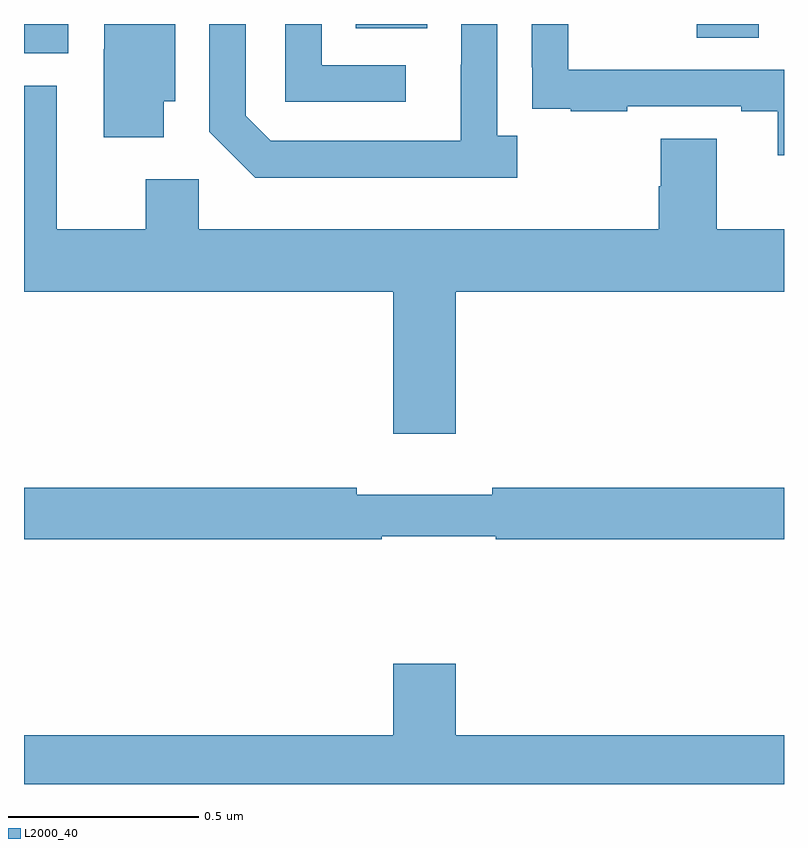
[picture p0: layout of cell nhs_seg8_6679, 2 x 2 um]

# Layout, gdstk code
import gdstk
lib = gdstk.Library(unit=1e-6, precision=1e-09)
def R(c, l, rs):  # rectangles x0, y0, x1, y1
    for r in rs: c.add(gdstk.rectangle(r[:2], r[2:], *l))
def P(c, l, *ps):  # polygons
    for p in ps: c.add(gdstk.Polygon(p, *l))
L2000_40 = (2000, 40)

nhs_seg8_6679 = lib.new_cell('nhs_seg8_6679')
R(nhs_seg8_6679, L2000_40, [(200,1087.823,200.116,1087.9), (201.77,1087.864,201.934,1087.9), (200.873,1087.889,201.061,1087.9), (201.521,1087.899,201.682,1087.9)])
P(nhs_seg8_6679, L2000_40, [(201.004,1087.791),(200.784,1087.791),(200.784,1087.9),(200.688,1087.9),(200.688,1087.695),(201.004,1087.695)],
  [(200.368,1087.697),(200.398,1087.697),(200.398,1087.9),(200.211,1087.9),(200.211,1087.833),(200.21,1087.833),(200.21,1087.602),(200.368,1087.602)],
  [(202,1087.779),(201.432,1087.779),(201.432,1087.9),(201.336,1087.9),(201.336,1087.786),(201.337,1087.786),(201.337,1087.677),(201.439,1087.677),(201.439,1087.671),(201.587,1087.671),(201.587,1087.683),(201.887,1087.683),(201.887,1087.671),(201.983,1087.671),(201.983,1087.554),(202,1087.554)],
  [(201.298,1087.606),(201.246,1087.606),(201.246,1087.9),(201.15,1087.9),(201.15,1087.793),(201.149,1087.793),(201.149,1087.593),(200.649,1087.593),(200.583,1087.659),(200.583,1087.9),(200.487,1087.9),(200.487,1087.617),(200.608,1087.496),(201.298,1087.496)],
  [(201.136,1087.196),(202,1087.196),(202,1087.36),(201.823,1087.36),(201.823,1087.598),(201.676,1087.598),(201.676,1087.473),(201.671,1087.473),(201.671,1087.36),(200.46,1087.36),(200.46,1087.492),(200.321,1087.492),(200.321,1087.36),(200.086,1087.36),(200.086,1087.738),(200,1087.738),(200,1087.196),(200.972,1087.196),(200.972,1086.822),(201.136,1086.822)],
  [(200.942,1086.552),(201.242,1086.552),(201.242,1086.544),(202,1086.544),(202,1086.68),(201.232,1086.68),(201.232,1086.661),(200.876,1086.661),(200.876,1086.68),(200,1086.68),(200,1086.544),(200.942,1086.544)],
  [(202,1086.028),(201.136,1086.028),(201.136,1086.217),(200.972,1086.217),(200.972,1086.028),(200,1086.028),(200,1085.9),(202,1085.9)])

lib.write_gds('nhs_seg8_6679.gds')
